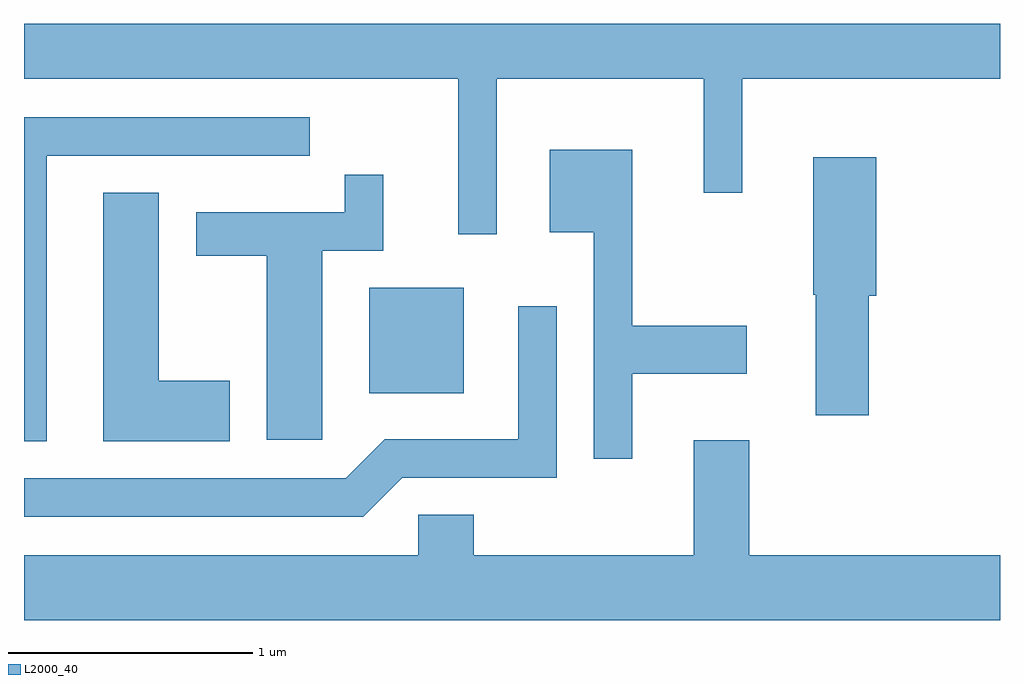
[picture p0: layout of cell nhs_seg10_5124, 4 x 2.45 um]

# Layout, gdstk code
import gdstk
lib = gdstk.Library(unit=1e-6, precision=1e-09)
def R(c, l, rs):  # rectangles x0, y0, x1, y1
    for r in rs: c.add(gdstk.rectangle(r[:2], r[2:], *l))
def P(c, l, *ps):  # polygons
    for p in ps: c.add(gdstk.Polygon(p, *l))
L2000_40 = (2000, 40)

nhs_seg10_5124 = lib.new_cell('nhs_seg10_5124')
R(nhs_seg10_5124, L2000_40, [(337.026,2177.006,337.414,2177.439)])
P(nhs_seg10_5124, L2000_40, [(337.549,2178.296),(338.396,2178.296),(338.396,2177.828),(338.554,2177.828),(338.554,2178.296),(339.611,2178.296),(339.611,2178.522),(335.611,2178.522),(335.611,2178.296),(337.391,2178.296),(337.391,2177.658),(337.549,2177.658)],
  [(335.704,2177.981),(336.783,2177.981),(336.783,2178.139),(335.611,2178.139),(335.611,2176.811),(335.704,2176.811)],
  [(338.104,2177.086),(338.574,2177.086),(338.574,2177.284),(338.104,2177.284),(338.104,2178.004),(337.766,2178.004),(337.766,2177.666),(337.946,2177.666),(337.946,2176.738),(338.104,2176.738)],
  [(339.074,2177.406),(339.104,2177.406),(339.104,2177.974),(338.846,2177.974),(338.846,2177.41),(338.856,2177.41),(338.856,2176.916),(339.074,2176.916)],
  [(336.834,2177.591),(337.084,2177.591),(337.084,2177.903),(336.926,2177.903),(336.926,2177.749),(336.316,2177.749),(336.316,2177.571),(336.606,2177.571),(336.606,2176.816),(336.834,2176.816)],
  [(336.454,2177.059),(336.164,2177.059),(336.164,2177.829),(335.936,2177.829),(335.936,2176.811),(336.454,2176.811)],
  [(337.162,2176.661),(337.794,2176.661),(337.794,2177.363),(337.636,2177.363),(337.636,2176.819),(337.089,2176.819),(336.929,2176.659),(335.611,2176.659),(335.611,2176.501),(337.002,2176.501)],
  [(339.611,2176.344),(338.584,2176.344),(338.584,2176.814),(338.356,2176.814),(338.356,2176.344),(337.454,2176.344),(337.454,2176.509),(337.226,2176.509),(337.226,2176.344),(335.611,2176.344),(335.611,2176.076),(339.611,2176.076)])

lib.write_gds('nhs_seg10_5124.gds')
